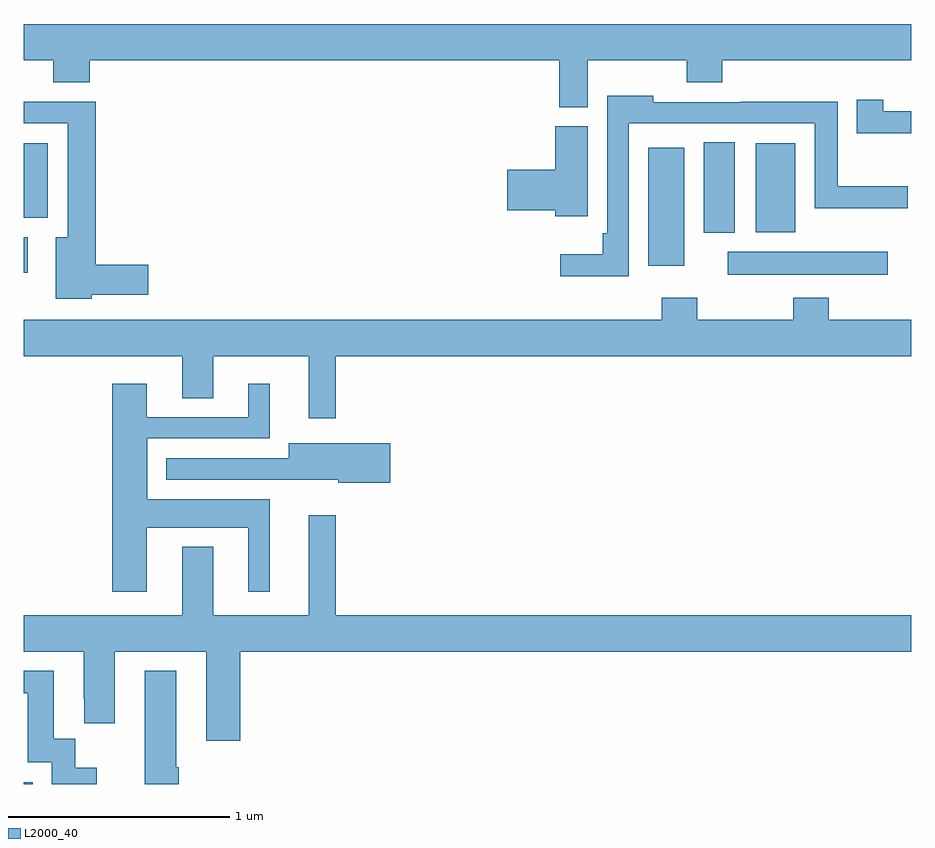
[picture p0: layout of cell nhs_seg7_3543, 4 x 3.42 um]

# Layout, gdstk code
import gdstk
lib = gdstk.Library(unit=1e-6, precision=1e-09)
def R(c, l, rs):  # rectangles x0, y0, x1, y1
    for r in rs: c.add(gdstk.rectangle(r[:2], r[2:], *l))
def P(c, l, *ps):  # polygons
    for p in ps: c.add(gdstk.Polygon(p, *l))
L2000_40 = (2000, 40)

nhs_seg7_3543 = lib.new_cell('nhs_seg7_3543')
R(nhs_seg7_3543, L2000_40, [(337,1020,337.042,1020.009), (340.173,1022.294,340.894,1022.398), (337,1022.304,337.018,1022.463), (339.815,1022.334,339.976,1022.866), (340.064,1022.483,340.204,1022.891), (340.298,1022.486,340.477,1022.887), (337,1022.552,337.108,1022.887)])
P(nhs_seg7_3543, L2000_40, [(339.541,1023.26),(339.988,1023.26),(339.988,1023.161),(340.148,1023.161),(340.148,1023.26),(341,1023.26),(341,1023.424),(337,1023.424),(337,1023.26),(337.133,1023.26),(337.133,1023.161),(337.298,1023.161),(337.298,1023.26),(339.413,1023.26),(339.413,1023.049),(339.541,1023.049)],
  [(339.726,1022.976),(340.565,1022.976),(340.565,1022.594),(340.984,1022.594),(340.984,1022.694),(340.669,1022.694),(340.669,1023.074),(340.231,1023.074),(340.231,1023.072),(339.837,1023.072),(339.837,1023.1),(339.63,1023.1),(339.63,1022.482),(339.61,1022.482),(339.61,1022.386),(339.417,1022.386),(339.417,1022.288),(339.726,1022.288)],
  [(341,1023.031),(340.872,1023.031),(340.872,1023.082),(340.754,1023.082),(340.754,1022.932),(341,1022.932)],
  [(337.308,1022.204),(337.561,1022.204),(337.561,1022.339),(337.325,1022.339),(337.325,1023.074),(337,1023.074),(337,1022.976),(337.199,1022.976),(337.199,1022.464),(337.145,1022.464),(337.145,1022.186),(337.308,1022.186)],
  [(339.541,1022.964),(339.395,1022.964),(339.395,1022.768),(339.18,1022.768),(339.18,1022.585),(339.395,1022.585),(339.395,1022.558),(339.541,1022.558)],
  [(338.407,1021.928),(341,1021.928),(341,1022.092),(340.628,1022.092),(340.628,1022.191),(340.468,1022.191),(340.468,1022.092),(340.035,1022.092),(340.035,1022.191),(339.875,1022.191),(339.875,1022.092),(337,1022.092),(337,1021.928),(337.715,1021.928),(337.715,1021.738),(337.855,1021.738),(337.855,1021.928),(338.285,1021.928),(338.285,1021.647),(338.407,1021.647)],
  [(337.555,1021.154),(338.012,1021.154),(338.012,1020.867),(338.11,1020.867),(338.11,1021.282),(337.558,1021.282),(337.558,1021.557),(338.11,1021.557),(338.11,1021.804),(338.012,1021.804),(338.012,1021.653),(337.555,1021.653),(337.555,1021.804),(337.4,1021.804),(337.4,1020.867),(337.555,1020.867)],
  [(338.653,1021.536),(338.195,1021.536),(338.195,1021.467),(337.643,1021.467),(337.643,1021.371),(338.199,1021.371),(338.199,1021.37),(338.418,1021.37),(338.418,1021.358),(338.653,1021.358)],
  [(337.976,1020.596),(341,1020.596),(341,1020.76),(338.407,1020.76),(338.407,1021.21),(338.285,1021.21),(338.285,1020.76),(337.855,1020.76),(337.855,1021.069),(337.715,1021.069),(337.715,1020.76),(337,1020.76),(337,1020.596),(337.271,1020.596),(337.271,1020.385),(337.274,1020.385),(337.274,1020.273),(337.411,1020.273),(337.411,1020.596),(337.823,1020.596),(337.823,1020.195),(337.976,1020.195)],
  [(337.7,1020.076),(337.687,1020.076),(337.687,1020.511),(337.547,1020.511),(337.547,1020),(337.7,1020)],
  [(337.33,1020.073),(337.233,1020.073),(337.233,1020.203),(337.135,1020.203),(337.135,1020.511),(337,1020.511),(337,1020.408),(337.019,1020.408),(337.019,1020.099),(337.128,1020.099),(337.128,1020),(337.33,1020)])

lib.write_gds('nhs_seg7_3543.gds')
